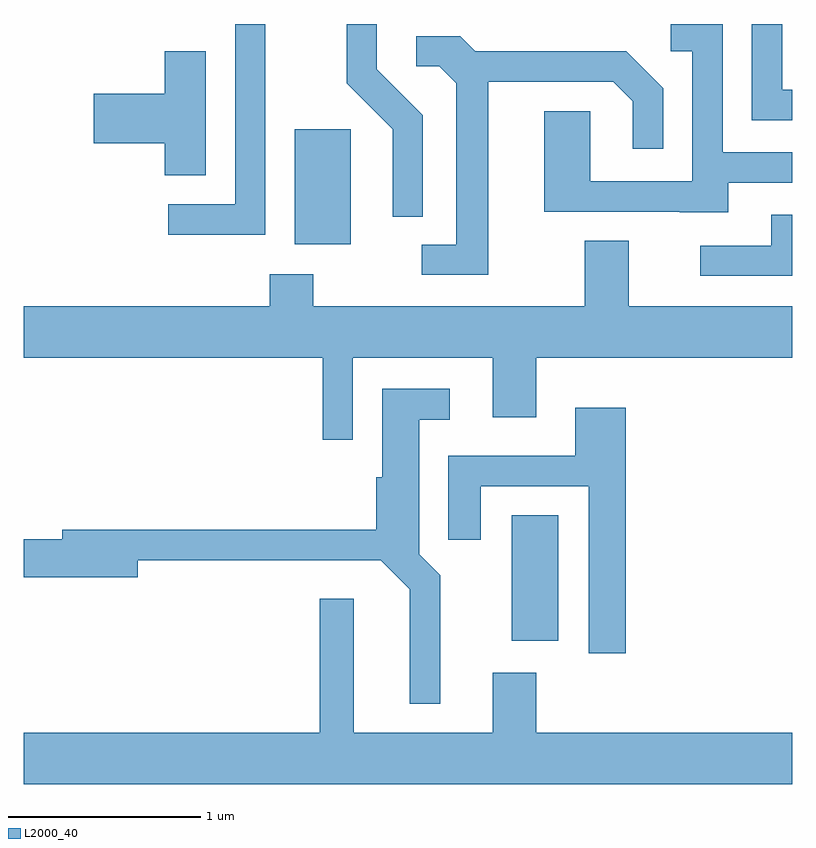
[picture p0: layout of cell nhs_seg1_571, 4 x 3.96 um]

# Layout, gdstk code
import gdstk
lib = gdstk.Library(unit=1e-6, precision=1e-09)
def R(c, l, rs):  # rectangles x0, y0, x1, y1
    for r in rs: c.add(gdstk.rectangle(r[:2], r[2:], *l))
def P(c, l, *ps):  # polygons
    for p in ps: c.add(gdstk.Polygon(p, *l))
L2000_40 = (2000, 40)

nhs_seg1_571 = lib.new_cell('nhs_seg1_571')
R(nhs_seg1_571, L2000_40, [(204.151,942.501,204.394,943.154), (203.021,944.566,203.314,945.164)])
P(nhs_seg1_571, L2000_40, [(205.279,944.886),(205.611,944.886),(205.611,945.044),(205.249,945.044),(205.249,945.712),(204.978,945.712),(204.978,945.571),(205.091,945.571),(205.091,944.894),(204.559,944.894),(204.559,945.259),(204.321,945.259),(204.321,944.736),(205.025,944.736),(205.025,944.731),(205.279,944.731)],
  [(202.869,945.712),(202.711,945.712),(202.711,944.774),(202.363,944.774),(202.363,944.616),(202.869,944.616)],
  [(203.689,945.237),(203.449,945.477),(203.449,945.712),(203.291,945.712),(203.291,945.404),(203.531,945.164),(203.531,944.708),(203.689,944.708)],
  [(205.611,945.369),(205.559,945.369),(205.559,945.712),(205.401,945.712),(205.401,945.211),(205.611,945.211)],
  [(204.029,945.411),(204.679,945.411),(204.781,945.309),(204.781,945.063),(204.939,945.063),(204.939,945.377),(204.747,945.569),(203.962,945.569),(203.882,945.649),(203.653,945.649),(203.653,945.491),(203.774,945.491),(203.861,945.404),(203.861,944.564),(203.683,944.564),(203.683,944.406),(204.029,944.406)],
  [(202.559,945.569),(202.346,945.569),(202.346,945.349),(201.976,945.349),(201.976,945.091),(202.346,945.091),(202.346,944.926),(202.559,944.926)],
  [(205.611,944.719),(205.501,944.719),(205.501,944.559),(205.133,944.559),(205.133,944.401),(205.611,944.401)],
  [(203.324,943.976),(204.051,943.976),(204.051,943.666),(204.279,943.666),(204.279,943.976),(205.611,943.976),(205.611,944.244),(204.759,944.244),(204.759,944.584),(204.531,944.584),(204.531,944.244),(203.119,944.244),(203.119,944.409),(202.891,944.409),(202.891,944.244),(201.611,944.244),(201.611,943.976),(203.166,943.976),(203.166,943.548),(203.324,943.548)],
  [(203.779,942.842),(203.669,942.952),(203.669,943.651),(203.828,943.651),(203.828,943.814),(203.476,943.814),(203.476,943.354),(203.446,943.354),(203.446,943.079),(201.811,943.079),(201.811,943.029),(201.611,943.029),(201.611,942.831),(202.204,942.831),(202.204,942.921),(203.469,942.921),(203.621,942.769),(203.621,942.173),(203.779,942.173)],
  [(204.744,943.714),(204.481,943.714),(204.481,943.464),(203.821,943.464),(203.821,943.028),(203.989,943.028),(203.989,943.306),(204.551,943.306),(204.551,942.436),(204.744,942.436)],
  [(205.611,942.024),(204.279,942.024),(204.279,942.334),(204.051,942.334),(204.051,942.024),(203.329,942.024),(203.329,942.719),(203.151,942.719),(203.151,942.024),(201.611,942.024),(201.611,941.756),(205.611,941.756)])

lib.write_gds('nhs_seg1_571.gds')
